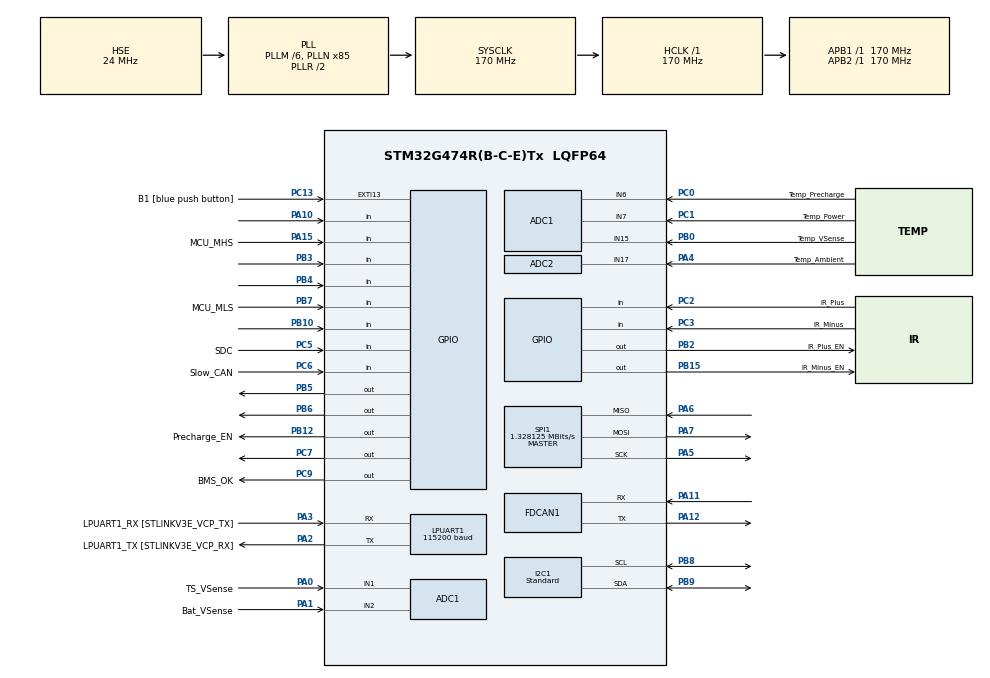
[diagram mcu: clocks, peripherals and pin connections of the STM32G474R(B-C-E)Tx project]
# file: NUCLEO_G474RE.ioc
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ADC1.Channel-2\#ChannelRegularConversion=ADC_CHANNEL_1
ADC1.Channel-4\#ChannelRegularConversion=ADC_CHANNEL_2
ADC1.Channel-5\#ChannelRegularConversion=ADC_CHANNEL_6
ADC1.Channel-6\#ChannelRegularConversion=ADC_CHANNEL_7
ADC1.Channel-7\#ChannelRegularConversion=ADC_CHANNEL_15
ADC1.ClockPrescaler=ADC_CLOCK_ASYNC_DIV256
ADC1.ContinuousConvMode=ENABLE
ADC1.DMAContinuousRequests=ENABLE
ADC1.NbrOfConversion=5
ADC1.NbrOfConversionFlag=1
ADC1.OffsetNumber-2\#ChannelRegularConversion=ADC_OFFSET_NONE
ADC1.OffsetNumber-4\#ChannelRegularConversion=ADC_OFFSET_NONE
ADC1.OffsetNumber-5\#ChannelRegularConversion=ADC_OFFSET_NONE
ADC1.OffsetNumber-6\#ChannelRegularConversion=ADC_OFFSET_NONE
ADC1.OffsetNumber-7\#ChannelRegularConversion=ADC_OFFSET_NONE
ADC1.Rank-2\#ChannelRegularConversion=1
ADC1.Rank-4\#ChannelRegularConversion=2
ADC1.Rank-5\#ChannelRegularConversion=3
ADC1.Rank-6\#ChannelRegularConversion=4
ADC1.Rank-7\#ChannelRegularConversion=5
ADC1.SamplingTime-2\#ChannelRegularConversion=ADC_SAMPLETIME_47CYCLES_5
ADC1.SamplingTime-4\#ChannelRegularConversion=ADC_SAMPLETIME_47CYCLES_5
ADC1.SamplingTime-5\#ChannelRegularConversion=ADC_SAMPLETIME_47CYCLES_5
ADC1.SamplingTime-6\#ChannelRegularConversion=ADC_SAMPLETIME_47CYCLES_5
ADC1.SamplingTime-7\#ChannelRegularConversion=ADC_SAMPLETIME_47CYCLES_5
ADC1.master=1
ADC2.Channel-0\#ChannelRegularConversion=ADC_CHANNEL_17
ADC2.ClockPrescaler=ADC_CLOCK_ASYNC_DIV256
ADC2.ContinuousConvMode=ENABLE
ADC2.DMAContinuousRequests=ENABLE
ADC2.NbrOfConversionFlag=1
ADC2.OffsetNumber-0\#ChannelRegularConversion=ADC_OFFSET_NONE
ADC2.Rank-0\#ChannelRegularConversion=1
ADC2.SamplingTime-0\#ChannelRegularConversion=ADC_SAMPLETIME_47CYCLES_5
Dma.ADC1.0.Direction=DMA_PERIPH_TO_MEMORY
Dma.ADC1.0.EventEnable=DISABLE
Dma.ADC1.0.Instance=DMA1_Channel1
Dma.ADC1.0.MemDataAlignment=DMA_MDATAALIGN_HALFWORD
Dma.ADC1.0.MemInc=DMA_MINC_ENABLE
Dma.ADC1.0.Mode=DMA_CIRCULAR
Dma.ADC1.0.PeriphDataAlignment=DMA_PDATAALIGN_HALFWORD
Dma.ADC1.0.PeriphInc=DMA_PINC_DISABLE
Dma.ADC1.0.Polarity=HAL_DMAMUX_REQ_GEN_RISING
Dma.ADC1.0.Priority=DMA_PRIORITY_LOW
Dma.ADC1.0.RequestNumber=1
Dma.ADC1.0.SignalID=NONE
Dma.ADC1.0.SyncEnable=DISABLE
Dma.ADC1.0.SyncPolarity=HAL_DMAMUX_SYNC_NO_EVENT
Dma.ADC1.0.SyncRequestNumber=1
Dma.ADC1.0.SyncSignalID=NONE
Dma.ADC2.1.Direction=DMA_PERIPH_TO_MEMORY
Dma.ADC2.1.EventEnable=DISABLE
Dma.ADC2.1.Instance=DMA1_Channel2
Dma.ADC2.1.MemDataAlignment=DMA_MDATAALIGN_HALFWORD
Dma.ADC2.1.MemInc=DMA_MINC_ENABLE
Dma.ADC2.1.Mode=DMA_CIRCULAR
Dma.ADC2.1.PeriphDataAlignment=DMA_PDATAALIGN_HALFWORD
Dma.ADC2.1.PeriphInc=DMA_PINC_DISABLE
Dma.ADC2.1.Polarity=HAL_DMAMUX_REQ_GEN_RISING
Dma.ADC2.1.Priority=DMA_PRIORITY_LOW
Dma.ADC2.1.RequestNumber=1
Dma.ADC2.1.SignalID=NONE
Dma.ADC2.1.SyncEnable=DISABLE
Dma.ADC2.1.SyncPolarity=HAL_DMAMUX_SYNC_NO_EVENT
Dma.ADC2.1.SyncRequestNumber=1
Dma.ADC2.1.SyncSignalID=NONE
Dma.Request0=ADC1
Dma.Request1=ADC2
FDCAN1.AutoRetransmission=ENABLE
FDCAN1.CalculateBaudRateNominal=999999
FDCAN1.CalculateTimeBitNominal=1000
FDCAN1.CalculateTimeQuantumNominal=5.882352941176471
FDCAN1.DataPrescaler=17
FDCAN1.DataSyncJumpWidth=3
FDCAN1.DataTimeSeg1=6
FDCAN1.DataTimeSeg2=3
FDCAN1.FrameFormat=FDCAN_FRAME_CLASSIC
FDCAN1.NominalPrescaler=1
FDCAN1.NominalSyncJumpWidth=33
FDCAN1.NominalTimeSeg1=136
FDCAN1.NominalTimeSeg2=33
FDCAN1.StdFiltersNbr=1
FREERTOS.Mutexes01=bsm_key,Dynamic,NULL,Available;gpio_data_key,Dynamic,NULL,Available;adc_data_key,Dynamic,NULL,Available;g_soc_estimate_key,Dynamic,NULL,Available;PackSegments_key,Dynamic,NULL,Available;TotalPack_key,Dynamic,NULL,Available;error_info_key,Dynamic,NULL,Available
FREERTOS.Queues01=Queue_CAN_Tx,16,can_msg,0,Dynamic,NULL,NULL
FREERTOS.Tasks01=GPIO_Read,9,256,Start_GPIO_Read,Default,NULL,Dynamic,NULL,NULL;BMS_Read,24,512,Start_BMS_Read,Default,NULL,Dynamic,NULL,NULL;BSM_Run,41,256,Start_BSM_Run,Default,NULL,Dynamic,NULL,NULL;Error_CAN,24,256,Start_Error_CAN,Default,NULL,Dynamic,NULL,NULL;ADC_Read,25,256,Start_ADC_Read,Default,NULL,Dynamic,NULL,NULL;BSM_CAN,17,256,Start_BSM_CAN,Default,NULL,Dynamic,NULL,NULL;BMS_CAN_Stats,24,384,Start_BMS_CAN_Stats,Default,NULL,Dynamic,NULL,NULL;BMS_CAN_Faults,33,384,Start_BMS_CAN_Faults,Default,NULL,Dynamic,NULL,NULL;SOC_CAN_Stats,18,256,Start_SOC_CAN_Stats,Default,NULL,Dynamic,NULL,NULL;BMS_CAN_IDS,8,384,Start_BMS_CAN_IDS,Default,NULL,Dynamic,NULL,NULL;BMS_CAN_Data,32,384,Start_BMS_CAN_Data,Default,NULL,Dynamic,NULL,NULL;SOC_CAN_Data,19,384,Start_SOC_CAN_Data,Default,NULL,Dynamic,NULL,NULL;GPIO_Write,8,256,Start_GPIO_Write,Default,NULL,Dynamic,NULL,NULL;Track_Usage,8,256,Start_Track_Usage,Default,NULL,Dynamic,NULL,NULL;CAN_Send,40,256,Start_CAN_Send,Default,NULL,Dynamic,NULL,NULL
FREERTOS.configCHECK_FOR_STACK_OVERFLOW=2
FREERTOS.configTOTAL_HEAP_SIZE=26000
FREERTOS.configUSE_NEWLIB_REENTRANT=1
I2C1.CustomTiming=Disabled
I2C1.DualAddressMode=I2C_DUALADDRESS_DISABLE
I2C1.I2C_Speed_Mode=I2C_Standard
I2C1.Timing=0x40B285C2
LPUART1.BaudRate=115200
Mcu.Family=STM32G4
Mcu.Name=STM32G474R(B-C-E)Tx
Mcu.Package=LQFP64
NVIC.ADC1_2_IRQn=true\:5\:0\:true\:false\:true\:true\:true\:true\:true
NVIC.DMA1_Channel1_IRQn=true\:6\:0\:true\:false\:true\:true\:false\:true\:true
NVIC.DMA1_Channel2_IRQn=true\:6\:0\:true\:false\:true\:true\:false\:true\:true
NVIC.EXTI15_10_IRQn=true\:5\:0\:false\:false\:true\:true\:true\:true\:true
NVIC.FDCAN1_IT0_IRQn=true\:8\:0\:true\:false\:true\:true\:true\:true\:true
NVIC.PriorityGroup=NVIC_PRIORITYGROUP_4
NVIC.TIM6_DAC_IRQn=true\:15\:0\:false\:false\:true\:false\:false\:true\:true
NVIC.TimeBase=TIM6_DAC_IRQn
NVIC.TimeBaseIP=TIM6
PA0.GPIO_Label=TS_VSense
PA0.Mode=IN1-Single-Ended
PA0.Signal=ADC1_IN1
PA1.GPIO_Label=Bat_VSense
PA1.Mode=IN2-Single-Ended
PA1.Signal=ADC1_IN2
PA10.Signal=GPIO_Input
PA11.Mode=FDCAN_Activate
PA11.Signal=FDCAN1_RX
PA12.Mode=FDCAN_Activate
PA12.Signal=FDCAN1_TX
PA13.GPIO_Label=T_SWDIO
PA13.Mode=Serial_Wire
PA13.Signal=SYS_JTMS-SWDIO
PA14.GPIO_Label=T_SWCLK
PA14.Mode=Serial_Wire
PA14.Signal=SYS_JTCK-SWCLK
PA15.GPIO_Label=MCU_MHS
PA15.Signal=GPIO_Input
PA2.GPIO_Label=LPUART1_TX [STLINKV3E_VCP_RX]
PA2.Mode=Asynchronous
PA2.Signal=LPUART1_TX
PA3.GPIO_Label=LPUART1_RX [STLINKV3E_VCP_TX]
PA3.Mode=Asynchronous
PA3.Signal=LPUART1_RX
PA4.GPIO_Label=Temp_Ambient
PA4.Mode=IN17-Single-Ended
PA4.Signal=ADC2_IN17
PA5.Mode=Full_Duplex_Master
PA5.Signal=SPI1_SCK
PA6.Mode=Full_Duplex_Master
PA6.Signal=SPI1_MISO
PA7.Mode=Full_Duplex_Master
PA7.Signal=SPI1_MOSI
PB0.GPIO_Label=Temp_VSense
PB0.Mode=IN15-Single-Ended
PB0.Signal=ADC1_IN15
PB10.Signal=GPIO_Input
PB12.GPIO_Label=Precharge_EN
PB12.Signal=GPIO_Output
PB15.GPIO_Label=IR_Minus_EN
PB15.Signal=GPIO_Output
PB2.GPIO_Label=IR_Plus_EN
PB2.Signal=GPIO_Output
PB3.Signal=GPIO_Input
PB4.Signal=GPIO_Input
PB5.PinState=GPIO_PIN_SET
PB5.Signal=GPIO_Output
PB6.Signal=GPIO_Output
PB7.GPIO_Label=MCU_MLS
PB7.Signal=GPIO_Input
PB8-BOOT0.Mode=I2C
PB8-BOOT0.Signal=I2C1_SCL
PB9.Mode=I2C
PB9.Signal=I2C1_SDA
PC0.GPIO_Label=Temp_Precharge
PC0.Mode=IN6-Single-Ended
PC0.Signal=ADC1_IN6
PC1.GPIO_Label=Temp_Power
PC1.Mode=IN7-Single-Ended
PC1.Signal=ADC1_IN7
PC13.GPIO_Label=B1 [blue push button]
PC13.Signal=GPXTI13
PC14-OSC32_IN.GPIO_Label=RCC_OSC32_IN
PC14-OSC32_IN.Mode=LSE-External-Oscillator
PC14-OSC32_IN.Signal=RCC_OSC32_IN
PC15-OSC32_OUT.GPIO_Label=RCC_OSC32_OUT
PC15-OSC32_OUT.Mode=LSE-External-Oscillator
PC15-OSC32_OUT.Signal=RCC_OSC32_OUT
PC2.GPIO_Label=IR_Plus
PC2.Signal=GPIO_Input
PC3.GPIO_Label=IR_Minus
PC3.Signal=GPIO_Input
PC5.GPIO_Label=SDC
PC5.Signal=GPIO_Input
PC6.GPIO_Label=Slow_CAN
PC6.Signal=GPIO_Input
PC7.GPIO_Speed=GPIO_SPEED_FREQ_LOW
PC7.PinState=GPIO_PIN_SET
PC7.Signal=GPIO_Output
PC9.GPIO_Label=BMS_OK
PC9.PinState=GPIO_PIN_SET
PC9.Signal=GPIO_Output
PF0-OSC_IN.GPIO_Label=RCC_OSC_IN
PF0-OSC_IN.Mode=HSE-External-Oscillator
PF0-OSC_IN.Signal=RCC_OSC_IN
PF1-OSC_OUT.GPIO_Label=RCC_OSC_OUT
PF1-OSC_OUT.Mode=HSE-External-Oscillator
PF1-OSC_OUT.Signal=RCC_OSC_OUT
ProjectManager.HeapSize=0x200
ProjectManager.StackSize=0x400
ProjectManager.TargetToolchain=CMake
RCC.ADC12Freq_Value=170000000
RCC.ADC345Freq_Value=170000000
RCC.AHBFreq_Value=170000000
RCC.APB1Freq_Value=170000000
RCC.APB1TimFreq_Value=170000000
RCC.APB2Freq_Value=170000000
RCC.APB2TimFreq_Value=170000000
RCC.CortexFreq_Value=170000000
RCC.EXTERNAL_CLOCK_VALUE=12288000
RCC.HCLKFreq_Value=170000000
RCC.HSE_VALUE=24000000
RCC.HSI48_VALUE=48000000
RCC.HSI_VALUE=16000000
RCC.PLLM=RCC_PLLM_DIV6
RCC.PLLN=85
RCC.PLLSourceVirtual=RCC_PLLSOURCE_HSE
RCC.RTCClockSelection=RCC_RTCCLKSOURCE_LSE
RCC.SYSCLKFreq_VALUE=170000000
RCC.SYSCLKSource=RCC_SYSCLKSOURCE_PLLCLK
RCC.USBFreq_Value=170000000
RCC.VCOOutputFreq_Value=340000000
SPI1.BaudRatePrescaler=SPI_BAUDRATEPRESCALER_128
SPI1.CalculateBaudRate=1.328125 MBits/s
SPI1.DataSize=SPI_DATASIZE_8BIT
SPI1.Direction=SPI_DIRECTION_2LINES
SPI1.Mode=SPI_MODE_MASTER
SPI1.NSSPMode=SPI_NSS_PULSE_ENABLE
SPI1.VirtualType=VM_MASTER
VP_FREERTOS_VS_CMSIS_V2.Mode=CMSIS_V2
VP_SYS_VS_DBSignals.Mode=DisableDeadBatterySignals
VP_SYS_VS_tim6.Mode=TIM6
board=NUCLEO-G474RE

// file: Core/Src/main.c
/* USER CODE BEGIN Header */
/**
 ******************************************************************************
 * @file           : main.c
 * @brief          : Main program body
 ******************************************************************************
 * @attention
 *
 * Copyright (c) 2025 STMicroelectronics.
 * All rights reserved.
 *
 * This software is licensed under terms that can be found in the LICENSE file
 * in the root directory of this software component.
 * If no LICENSE file comes with this software, it is provided AS-IS.
 *
 ******************************************************************************
 */
/* USER CODE END Header */
#include "main.h"

#include "cmsis_os.h"

/* USER CODE BEGIN Includes */
#include <stdint.h>
#include <stdio.h>
#include <string.h>

#include "adBms_Application.h"
#include "adc_management.h"
#include "bsm.h"
#include "can_management.h"
#include "cmsis_os2.h"
#include "common.h"
#include "common_types.h"
#include "gpio_management.h"
/* USER CODE END Includes */

/* USER CODE BEGIN PD */
// Reset Counters to rest the microcontroller in case of critical faults, will get stuck after a set
// number of resets
__attribute__((section(".noinit"))) uint32_t reset_counter;
__attribute__((section(".noinit"))) uint32_t reset_counter_magic;
/* USER CODE END PD */

ADC_HandleTypeDef hadc1;
ADC_HandleTypeDef hadc2;
DMA_HandleTypeDef hdma_adc1;
DMA_HandleTypeDef hdma_adc2;

FDCAN_HandleTypeDef hfdcan1;

I2C_HandleTypeDef hi2c1;

UART_HandleTypeDef hlpuart1;

SPI_HandleTypeDef hspi1;

/* Definitions for GPIO_Read */
osThreadId_t GPIO_ReadHandle;
const osThreadAttr_t GPIO_Read_attributes = {
    .name = "GPIO_Read", .priority = (osPriority_t)osPriorityLow1, .stack_size = 256 * 4};
/* Definitions for BMS_Read */
osThreadId_t BMS_ReadHandle;
const osThreadAttr_t BMS_Read_attributes = {
    .name = "BMS_Read", .priority = (osPriority_t)osPriorityNormal, .stack_size = 512 * 4};
/* Definitions for BSM_Run */
osThreadId_t BSM_RunHandle;
const osThreadAttr_t BSM_Run_attributes = {
    .name = "BSM_Run", .priority = (osPriority_t)osPriorityHigh1, .stack_size = 256 * 4};
/* Definitions for Error_CAN */
osThreadId_t Error_CANHandle;
const osThreadAttr_t Error_CAN_attributes = {
    .name = "Error_CAN", .priority = (osPriority_t)osPriorityNormal, .stack_size = 256 * 4};
/* Definitions for ADC_Read */
osThreadId_t ADC_ReadHandle;
const osThreadAttr_t ADC_Read_attributes = {
    .name = "ADC_Read", .priority = (osPriority_t)osPriorityNormal1, .stack_size = 256 * 4};
/* Definitions for BSM_CAN */
osThreadId_t BSM_CANHandle;
const osThreadAttr_t BSM_CAN_attributes = {
    .name = "BSM_CAN", .priority = (osPriority_t)osPriorityBelowNormal1, .stack_size = 256 * 4};
/* Definitions for BMS_CAN_Stats */
osThreadId_t BMS_CAN_StatsHandle;
const osThreadAttr_t BMS_CAN_Stats_attributes = {
    .name = "BMS_CAN_Stats", .priority = (osPriority_t)osPriorityNormal, .stack_size = 384 * 4};
/* Definitions for BMS_CAN_Faults */
osThreadId_t BMS_CAN_FaultsHandle;
const osThreadAttr_t BMS_CAN_Faults_attributes = {.name = "BMS_CAN_Faults",
                                                  .priority = (osPriority_t)osPriorityAboveNormal1,
                                                  .stack_size = 384 * 4};
/* Definitions for SOC_CAN_Stats */
osThreadId_t SOC_CAN_StatsHandle;
const osThreadAttr_t SOC_CAN_Stats_attributes = {.name = "SOC_CAN_Stats",
                                                 .priority = (osPriority_t)osPriorityBelowNormal2,
                                                 .stack_size = 256 * 4};
/* Definitions for BMS_CAN_IDS */
osThreadId_t BMS_CAN_IDSHandle;
const osThreadAttr_t BMS_CAN_IDS_attributes = {
    .name = "BMS_CAN_IDS", .priority = (osPriority_t)osPriorityLow, .stack_size = 384 * 4};
/* Definitions for BMS_CAN_Data */
osThreadId_t BMS_CAN_DataHandle;
const osThreadAttr_t BMS_CAN_Data_attributes = {
    .name = "BMS_CAN_Data", .priority = (osPriority_t)osPriorityAboveNormal, .stack_size = 384 * 4};
/* Definitions for SOC_CAN_Data */
osThreadId_t SOC_CAN_DataHandle;
const osThreadAttr_t SOC_CAN_Data_attributes = {.name = "SOC_CAN_Data",
                                                .priority = (osPriority_t)osPriorityBelowNormal3,
                                                .stack_size = 384 * 4};
/* Definitions for GPIO_Write */
osThreadId_t GPIO_WriteHandle;
const osThreadAttr_t GPIO_Write_attributes = {
    .name = "GPIO_Write", .priority = (osPriority_t)osPriorityLow, .stack_size = 256 * 4};
/* Definitions for Track_Usage */
osThreadId_t Track_UsageHandle;
const osThreadAttr_t Track_Usage_attributes = {
    .name = "Track_Usage", .priority = (osPriority_t)osPriorityLow, .stack_size = 256 * 4};
/* Definitions for CAN_Send */
osThreadId_t CAN_SendHandle;
const osThreadAttr_t CAN_Send_attributes = {
    .name = "CAN_Send", .priority = (osPriority_t)osPriorityHigh, .stack_size = 256 * 4};
/* Definitions for Queue_CAN_Tx */
osMessageQueueId_t Queue_CAN_TxHandle;
const osMessageQueueAttr_t Queue_CAN_Tx_attributes = {.name = "Queue_CAN_Tx"};
/* Definitions for bsm_key */
osMutexId_t bsm_keyHandle;
const osMutexAttr_t bsm_key_attributes = {.name = "bsm_key"};
/* Definitions for gpio_data_key */
osMutexId_t gpio_data_keyHandle;
const osMutexAttr_t gpio_data_key_attributes = {.name = "gpio_data_key"};
/* Definitions for adc_data_key */
osMutexId_t adc_data_keyHandle;
const osMutexAttr_t adc_data_key_attributes = {.name = "adc_data_key"};
/* Definitions for g_soc_estimate_key */
osMutexId_t g_soc_estimate_keyHandle;
const osMutexAttr_t g_soc_estimate_key_attributes = {.name = "g_soc_estimate_key"};
/* Definitions for PackSegments_key */
osMutexId_t PackSegments_keyHandle;
const osMutexAttr_t PackSegments_key_attributes = {.name = "PackSegments_key"};
/* Definitions for TotalPack_key */
osMutexId_t TotalPack_keyHandle;
const osMutexAttr_t TotalPack_key_attributes = {.name = "TotalPack_key"};
/* Definitions for error_info_key */
osMutexId_t error_info_keyHandle;
const osMutexAttr_t error_info_key_attributes = {.name = "error_info_key"};
/* USER CODE BEGIN PV */
uint8_t HeaderTxBuffer[] =
    "****SPI - Two Boards communication based on Polling **** SPI Message ******** SPI Message "
    "******** SPI Message ****";

/* USER CODE END PV */

void SystemClock_Config(void);
static void MX_GPIO_Init(void);
static void MX_DMA_Init(void);
static void MX_ADC1_Init(void);
static void MX_I2C1_Init(void);
static void MX_LPUART1_UART_Init(void);
static void MX_SPI1_Init(void);
static void MX_FDCAN1_Init(void);
static void MX_ADC2_Init(void);
void Start_GPIO_Read(void* argument);
void Start_BMS_Read(void* argument);
void Start_BSM_Run(void* argument);
void Start_Error_CAN(void* argument);
void Start_ADC_Read(void* argument);
void Start_BSM_CAN(void* argument);
void Start_BMS_CAN_Stats(void* argument);
void Start_BMS_CAN_Faults(void* argument);
void Start_SOC_CAN_Stats(void* argument);
void Start_BMS_CAN_IDS(void* argument);
void Start_BMS_CAN_Data(void* argument);
void Start_SOC_CAN_Data(void* argument);
void Start_GPIO_Write(void* argument);
void Start_Track_Usage(void* argument);
void Start_CAN_Send(void* argument);

/* USER CODE BEGIN PFP */

#if defined(__ICCARM__)
/* New definition from EWARM V9, compatible with EWARM8 */
int iar_fputc(int ch);
#define PUTCHAR_PROTOTYPE int iar_fputc(int ch)
#elif defined(__CC_ARM) || defined(__ARMCC_VERSION)
/* ARM Compiler 5/6*/
#define PUTCHAR_PROTOTYPE int fputc(int ch, FILE* f)
#define GETCHAR_PROTOTYPE int fgetc(FILE* f)
#elif defined(__GNUC__)
#define PUTCHAR_PROTOTYPE int __io_putchar(int ch)
#define GETCHAR_PROTOTYPE int __io_getchar(void)
#endif /* __ICCARM__ */
/* USER CODE END PFP */

/* USER CODE BEGIN 0 */
// Extra State Machine object pointer for extreme error handling FAULT state check
Mutex_Struct_t mutex_struct;
bsm_obj bsm;
GPIO_Info_t gpio_data = {0};
static bsm_obj* g_bsm_ptr = &bsm;  // BMS and SOC CAN Send Counters
uint8_t bms_mod_counter = 0;
uint8_t bms_segment_counter = 0;
uint8_t soc_mod_counter = 0;
uint8_t soc_segment_counter = 0;

/* USER CODE END 0 */

int main(void) {
    /* USER CODE BEGIN 1 */
    // Battery State Machine Structure
    /*Attributes:
     * State
     * Timer
     * Outputs: Precharge Enable, IR+ enable, IR- enable
     */

    /* USER CODE END 1 */

    /* MCU Configuration--------------------------------------------------------*/

    /* Reset of all peripherals, Initializes the Flash interface and the Systick. */
    HAL_Init();

    /* USER CODE BEGIN Init */
    reset_counter_init();
    /* USER CODE END Init */

    /* Configure the system clock */
    SystemClock_Config();

    /* Initialize all configured peripherals */
    /*
    MX_GPIO_Init();
    MX_DMA_Init();
    MX_ADC1_Init();
    MX_I2C1_Init();
    MX_LPUART1_UART_Init();
    MX_SPI1_Init();
    MX_FDCAN1_Init();
    MX_ADC2_Init();
    */
    /* USER CODE BEGIN 2 */
    // TODO: COMMENT OUT STATEMENTS BEFORE IF NEW CODE FROM MX
    MX_GPIO_Init();
    MX_LPUART1_UART_Init();
    MX_FDCAN1_Init();
    GPIO_Init(&gpio_data);
    can_init(&hfdcan1, &gpio_data);
    MX_DMA_Init();
    MX_ADC1_Init();
    MX_ADC2_Init();
    MX_SPI1_Init();
    MX_I2C1_Init();

    // printf("MAIN START\r\n");

    // Start ADC
    adc_init(&hadc1, &hadc2);

    // Start BSM
    bsm_init(&bsm);

    adbms_main_init(&can_data);

    /* USER CODE END 2 */

    /* Init scheduler */
    osKernelInitialize();
    /* Create the mutex(es) */
    /* creation of bsm_key */
    bsm_keyHandle = osMutexNew(&bsm_key_attributes);

    /* creation of gpio_data_key */
    gpio_data_keyHandle = osMutexNew(&gpio_data_key_attributes);

    /* creation of adc_data_key */
    adc_data_keyHandle = osMutexNew(&adc_data_key_attributes);

    /* creation of g_soc_estimate_key */
    g_soc_estimate_keyHandle = osMutexNew(&g_soc_estimate_key_attributes);

    /* creation of PackSegments_key */
    PackSegments_keyHandle = osMutexNew(&PackSegments_key_attributes);

    /* creation of TotalPack_key */
    TotalPack_keyHandle = osMutexNew(&TotalPack_key_attributes);

    /* creation of error_info_key */
    error_info_keyHandle = osMutexNew(&error_info_key_attributes);

    /* USER CODE BEGIN RTOS_MUTEX */
    /* add mutexes, ... */
    mutex_struct.bsm_key = bsm_keyHandle;
    mutex_struct.gpio_data_key = gpio_data_keyHandle;
    mutex_struct.adc_data_key = adc_data_keyHandle;
    mutex_struct.soc_estimate_key = g_soc_estimate_keyHandle;
    mutex_struct.pack_segments_key = PackSegments_keyHandle;
    mutex_struct.total_pack_key = TotalPack_keyHandle;
    mutex_struct.error_info_key = error_info_keyHandle;

    /* USER CODE END RTOS_MUTEX */

    /* Create the queue(s) */
    /* creation of Queue_CAN_Tx */
    Queue_CAN_TxHandle = osMessageQueueNew(16, sizeof(can_msg), &Queue_CAN_Tx_attributes);

    /* Create the thread(s) */
    /* creation of GPIO_Read */
    GPIO_ReadHandle = osThreadNew(Start_GPIO_Read, NULL, &GPIO_Read_attributes);

    /* creation of BMS_Read */
    BMS_ReadHandle = osThreadNew(Start_BMS_Read, NULL, &BMS_Read_attributes);

    /* creation of BSM_Run */
    BSM_RunHandle = osThreadNew(Start_BSM_Run, NULL, &BSM_Run_attributes);

    /* creation of Error_CAN */
    Error_CANHandle = osThreadNew(Start_Error_CAN, NULL, &Error_CAN_attributes);

    /* creation of ADC_Read */
    ADC_ReadHandle = osThreadNew(Start_ADC_Read, NULL, &ADC_Read_attributes);

    /* creation of BSM_CAN */
    BSM_CANHandle = osThreadNew(Start_BSM_CAN, NULL, &BSM_CAN_attributes);

    /* creation of BMS_CAN_Stats */
    BMS_CAN_StatsHandle = osThreadNew(Start_BMS_CAN_Stats, NULL, &BMS_CAN_Stats_attributes);

    /* creation of BMS_CAN_Faults */
    BMS_CAN_FaultsHandle = osThreadNew(Start_BMS_CAN_Faults, NULL, &BMS_CAN_Faults_attributes);

    /* creation of SOC_CAN_Stats */
    SOC_CAN_StatsHandle = osThreadNew(Start_SOC_CAN_Stats, NULL, &SOC_CAN_Stats_attributes);

    /* creation of BMS_CAN_IDS */
    BMS_CAN_IDSHandle = osThreadNew(Start_BMS_CAN_IDS, NULL, &BMS_CAN_IDS_attributes);

    /* creation of BMS_CAN_Data */
    BMS_CAN_DataHandle = osThreadNew(Start_BMS_CAN_Data, NULL, &BMS_CAN_Data_attributes);

    /* creation of SOC_CAN_Data */
    SOC_CAN_DataHandle = osThreadNew(Start_SOC_CAN_Data, NULL, &SOC_CAN_Data_attributes);

    /* creation of GPIO_Write */
    GPIO_WriteHandle = osThreadNew(Start_GPIO_Write, NULL, &GPIO_Write_attributes);

    /* creation of Track_Usage */
    Track_UsageHandle = osThreadNew(Start_Track_Usage, NULL, &Track_Usage_attributes);

    /* creation of CAN_Send */
    CAN_SendHandle = osThreadNew(Start_CAN_Send, NULL, &CAN_Send_attributes);

    /* Start scheduler */
    osKernelStart();

    /* We should never get here as control is now taken by the scheduler */

    /* Infinite loop */
    while (1) {

    }
}

void SystemClock_Config(void) {
    RCC_OscInitTypeDef RCC_OscInitStruct = {0};
    RCC_ClkInitTypeDef RCC_ClkInitStruct = {0};

    /** Configure the main internal regulator output voltage
     */
    HAL_PWREx_ControlVoltageScaling(PWR_REGULATOR_VOLTAGE_SCALE1_BOOST);

    /** Initializes the RCC Oscillators according to the specified parameters
     * in the RCC_OscInitTypeDef structure.
     */
    RCC_OscInitStruct.OscillatorType = RCC_OSCILLATORTYPE_HSE;
    RCC_OscInitStruct.HSEState = RCC_HSE_ON;
    RCC_OscInitStruct.PLL.PLLState = RCC_PLL_ON;
    RCC_OscInitStruct.PLL.PLLSource = RCC_PLLSOURCE_HSE;
    RCC_OscInitStruct.PLL.PLLM = RCC_PLLM_DIV6;
    RCC_OscInitStruct.PLL.PLLN = 85;
    RCC_OscInitStruct.PLL.PLLP = RCC_PLLP_DIV2;
    RCC_OscInitStruct.PLL.PLLQ = RCC_PLLQ_DIV2;
    RCC_OscInitStruct.PLL.PLLR = RCC_PLLR_DIV2;
    if (HAL_RCC_OscConfig(&RCC_OscInitStruct) != HAL_OK) {
        Error_Handler();
    }

    /** Initializes the CPU, AHB and APB buses clocks
     */
    RCC_ClkInitStruct.ClockType =
        RCC_CLOCKTYPE_HCLK | RCC_CLOCKTYPE_SYSCLK | RCC_CLOCKTYPE_PCLK1 | RCC_CLOCKTYPE_PCLK2;
    RCC_ClkInitStruct.SYSCLKSource = RCC_SYSCLKSOURCE_PLLCLK;
    RCC_ClkInitStruct.AHBCLKDivider = RCC_SYSCLK_DIV1;
    RCC_ClkInitStruct.APB1CLKDivider = RCC_HCLK_DIV1;
    RCC_ClkInitStruct.APB2CLKDivider = RCC_HCLK_DIV1;

    if (HAL_RCC_ClockConfig(&RCC_ClkInitStruct, FLASH_LATENCY_4) != HAL_OK) {
        Error_Handler();
    }
}

static void MX_ADC1_Init(void) {

    ADC_MultiModeTypeDef multimode = {0};
    ADC_ChannelConfTypeDef sConfig = {0};

    /** Common config
     */
    hadc1.Instance = ADC1;
    hadc1.Init.ClockPrescaler = ADC_CLOCK_ASYNC_DIV256;
    hadc1.Init.Resolution = ADC_RESOLUTION_12B;
    hadc1.Init.DataAlign = ADC_DATAALIGN_RIGHT;
    hadc1.Init.GainCompensation = 0;
    hadc1.Init.ScanConvMode = ADC_SCAN_ENABLE;
    hadc1.Init.EOCSelection = ADC_EOC_SINGLE_CONV;
    hadc1.Init.LowPowerAutoWait = DISABLE;
    hadc1.Init.ContinuousConvMode = ENABLE;
    hadc1.Init.NbrOfConversion = 5;
    hadc1.Init.DiscontinuousConvMode = DISABLE;
    hadc1.Init.ExternalTrigConv = ADC_SOFTWARE_START;
    hadc1.Init.ExternalTrigConvEdge = ADC_EXTERNALTRIGCONVEDGE_NONE;
    hadc1.Init.DMAContinuousRequests = ENABLE;
    hadc1.Init.Overrun = ADC_OVR_DATA_PRESERVED;
    hadc1.Init.OversamplingMode = DISABLE;
    if (HAL_ADC_Init(&hadc1) != HAL_OK) {
        Error_Handler();
    }

    /** Configure the ADC multi-mode
     */
    multimode.Mode = ADC_MODE_INDEPENDENT;
    if (HAL_ADCEx_MultiModeConfigChannel(&hadc1, &multimode) != HAL_OK) {
        Error_Handler();
    }

    /** Configure Regular Channel
     */
    sConfig.Channel = ADC_CHANNEL_1;
    sConfig.Rank = ADC_REGULAR_RANK_1;
    sConfig.SamplingTime = ADC_SAMPLETIME_47CYCLES_5;
    sConfig.SingleDiff = ADC_SINGLE_ENDED;
    sConfig.OffsetNumber = ADC_OFFSET_NONE;
    sConfig.Offset = 0;
    if (HAL_ADC_ConfigChannel(&hadc1, &sConfig) != HAL_OK) {
        Error_Handler();
    }

    /** Configure Regular Channel
     */
    sConfig.Channel = ADC_CHANNEL_2;
    sConfig.Rank = ADC_REGULAR_RANK_2;
    if (HAL_ADC_ConfigChannel(&hadc1, &sConfig) != HAL_OK) {
        Error_Handler();
    }

    /** Configure Regular Channel
     */
    sConfig.Channel = ADC_CHANNEL_6;
    sConfig.Rank = ADC_REGULAR_RANK_3;
    if (HAL_ADC_ConfigChannel(&hadc1, &sConfig) != HAL_OK) {
        Error_Handler();
    }

    /** Configure Regular Channel
     */
    sConfig.Channel = ADC_CHANNEL_7;
    sConfig.Rank = ADC_REGULAR_RANK_4;
    if (HAL_ADC_ConfigChannel(&hadc1, &sConfig) != HAL_OK) {
        Error_Handler();
    }

    /** Configure Regular Channel
     */
    sConfig.Channel = ADC_CHANNEL_15;
    sConfig.Rank = ADC_REGULAR_RANK_5;
    if (HAL_ADC_ConfigChannel(&hadc1, &sConfig) != HAL_OK) {
        Error_Handler();
    }
}

static void MX_ADC2_Init(void) {

    ADC_ChannelConfTypeDef sConfig = {0};

    /** Common config
     */
    hadc2.Instance = ADC2;
    hadc2.Init.ClockPrescaler = ADC_CLOCK_ASYNC_DIV256;
    hadc2.Init.Resolution = ADC_RESOLUTION_12B;
    hadc2.Init.DataAlign = ADC_DATAALIGN_RIGHT;
    hadc2.Init.GainCompensation = 0;
    hadc2.Init.ScanConvMode = ADC_SCAN_DISABLE;
    hadc2.Init.EOCSelection = ADC_EOC_SINGLE_CONV;
    hadc2.Init.LowPowerAutoWait = DISABLE;
    hadc2.Init.ContinuousConvMode = ENABLE;
    hadc2.Init.NbrOfConversion = 1;
    hadc2.Init.DiscontinuousConvMode = DISABLE;
    hadc2.Init.ExternalTrigConv = ADC_SOFTWARE_START;
    hadc2.Init.ExternalTrigConvEdge = ADC_EXTERNALTRIGCONVEDGE_NONE;
    hadc2.Init.DMAContinuousRequests = ENABLE;
    hadc2.Init.Overrun = ADC_OVR_DATA_PRESERVED;
    hadc2.Init.OversamplingMode = DISABLE;
    if (HAL_ADC_Init(&hadc2) != HAL_OK) {
        Error_Handler();
    }

    /** Configure Regular Channel
     */
    sConfig.Channel = ADC_CHANNEL_17;
    sConfig.Rank = ADC_REGULAR_RANK_1;
    sConfig.SamplingTime = ADC_SAMPLETIME_47CYCLES_5;
    sConfig.SingleDiff = ADC_SINGLE_ENDED;
    sConfig.OffsetNumber = ADC_OFFSET_NONE;
    sConfig.Offset = 0;
    if (HAL_ADC_ConfigChannel(&hadc2, &sConfig) != HAL_OK) {
        Error_Handler();
    }
}

static void MX_FDCAN1_Init(void) {

    hfdcan1.Instance = FDCAN1;
    hfdcan1.Init.ClockDivider = FDCAN_CLOCK_DIV1;
    hfdcan1.Init.FrameFormat = FDCAN_FRAME_CLASSIC;
    hfdcan1.Init.Mode = FDCAN_MODE_NORMAL;
    hfdcan1.Init.AutoRetransmission = ENABLE;
    hfdcan1.Init.TransmitPause = DISABLE;
    hfdcan1.Init.ProtocolException = DISABLE;
    hfdcan1.Init.NominalPrescaler = 1;
    hfdcan1.Init.NominalSyncJumpWidth = 33;
    hfdcan1.Init.NominalTimeSeg1 = 136;
    hfdcan1.Init.NominalTimeSeg2 = 33;
    hfdcan1.Init.DataPrescaler = 17;
    hfdcan1.Init.DataSyncJumpWidth = 3;
    hfdcan1.Init.DataTimeSeg1 = 6;
    hfdcan1.Init.DataTimeSeg2 = 3;
    hfdcan1.Init.StdFiltersNbr = 1;
    hfdcan1.Init.ExtFiltersNbr = 0;
    hfdcan1.Init.TxFifoQueueMode = FDCAN_TX_FIFO_OPERATION;
    if (HAL_FDCAN_Init(&hfdcan1) != HAL_OK) {
        Error_Handler();
    }
    /* USER CODE BEGIN FDCAN1_Init 2 */
    FDCAN_FilterTypeDef sFilterConfig;

    sFilterConfig.IdType = FDCAN_STANDARD_ID;  // 11 Bit Standard Length
    sFilterConfig.FilterIndex = 0;             // One filter so set to 0
    sFilterConfig.FilterType =
        FDCAN_FILTER_MASK;  // Standard Filter Type, FilterID1 = filter, FilterID2 = mask
    sFilterConfig.FilterID1 = 0x000;
    sFilterConfig.FilterID2 = 0x000;
    sFilterConfig.FilterConfig = FDCAN_FILTER_TO_RXFIFO0;

    if (HAL_FDCAN_ConfigFilter(&hfdcan1, &sFilterConfig) != HAL_OK) {
        /* Filter Configuration Error */
        Error_Handler();
    }

    /* USER CODE END FDCAN1_Init 2 */
}

static void MX_I2C1_Init(void) {

    hi2c1.Instance = I2C1;
    hi2c1.Init.Timing = 0x40B285C2;
    hi2c1.Init.OwnAddress1 = 0;
    hi2c1.Init.AddressingMode = I2C_ADDRESSINGMODE_7BIT;
    hi2c1.Init.DualAddressMode = I2C_DUALADDRESS_DISABLE;
    hi2c1.Init.OwnAddress2 = 0;
    hi2c1.Init.OwnAddress2Masks = I2C_OA2_NOMASK;
    hi2c1.Init.GeneralCallMode = I2C_GENERALCALL_DISABLE;
    hi2c1.Init.NoStretchMode = I2C_NOSTRETCH_DISABLE;
    if (HAL_I2C_Init(&hi2c1) != HAL_OK) {
        Error_Handler();
    }

    /** Configure Analogue filter
     */
    if (HAL_I2CEx_ConfigAnalogFilter(&hi2c1, I2C_ANALOGFILTER_ENABLE) != HAL_OK) {
        Error_Handler();
    }

    /** Configure Digital filter
     */
    if (HAL_I2CEx_ConfigDigitalFilter(&hi2c1, 0) != HAL_OK) {
        Error_Handler();
    }
}

static void MX_LPUART1_UART_Init(void) {

    hlpuart1.Instance = LPUART1;
    hlpuart1.Init.BaudRate = 115200;
    hlpuart1.Init.WordLength = UART_WORDLENGTH_8B;
    hlpuart1.Init.StopBits = UART_STOPBITS_1;
    hlpuart1.Init.Parity = UART_PARITY_NONE;
    hlpuart1.Init.Mode = UART_MODE_TX_RX;
    hlpuart1.Init.HwFlowCtl = UART_HWCONTROL_NONE;
    hlpuart1.Init.OneBitSampling = UART_ONE_BIT_SAMPLE_DISABLE;
    hlpuart1.Init.ClockPrescaler = UART_PRESCALER_DIV1;
    hlpuart1.AdvancedInit.AdvFeatureInit = UART_ADVFEATURE_NO_INIT;
    if (HAL_UART_Init(&hlpuart1) != HAL_OK) {
        Error_Handler();
    }
    if (HAL_UARTEx_SetTxFifoThreshold(&hlpuart1, UART_TXFIFO_THRESHOLD_1_8) != HAL_OK) {
        Error_Handler();
    }
    if (HAL_UARTEx_SetRxFifoThreshold(&hlpuart1, UART_RXFIFO_THRESHOLD_1_8) != HAL_OK) {
        Error_Handler();
    }
    if (HAL_UARTEx_DisableFifoMode(&hlpuart1) != HAL_OK) {
        Error_Handler();
    }
}

static void MX_SPI1_Init(void) {

    /* SPI1 parameter configuration*/
    hspi1.Instance = SPI1;
    hspi1.Init.Mode = SPI_MODE_MASTER;
    hspi1.Init.Direction = SPI_DIRECTION_2LINES;
    hspi1.Init.DataSize = SPI_DATASIZE_8BIT;
    hspi1.Init.CLKPolarity = SPI_POLARITY_LOW;
    hspi1.Init.CLKPhase = SPI_PHASE_1EDGE;
    hspi1.Init.NSS = SPI_NSS_SOFT;
    hspi1.Init.BaudRatePrescaler = SPI_BAUDRATEPRESCALER_128;
    hspi1.Init.FirstBit = SPI_FIRSTBIT_MSB;
    hspi1.Init.TIMode = SPI_TIMODE_DISABLE;
    hspi1.Init.CRCCalculation = SPI_CRCCALCULATION_DISABLE;
    hspi1.Init.CRCPolynomial = 7;
    hspi1.Init.CRCLength = SPI_CRC_LENGTH_DATASIZE;
    hspi1.Init.NSSPMode = SPI_NSS_PULSE_ENABLE;
    if (HAL_SPI_Init(&hspi1) != HAL_OK) {
        Error_Handler();
    }
}

static void MX_DMA_Init(void) {
    /* DMA controller clock enable */
    __HAL_RCC_DMAMUX1_CLK_ENABLE();
    __HAL_RCC_DMA1_CLK_ENABLE();

    /* DMA interrupt init */
    /* DMA1_Channel1_IRQn interrupt configuration */
    HAL_NVIC_SetPriority(DMA1_Channel1_IRQn, 6, 0);
    HAL_NVIC_EnableIRQ(DMA1_Channel1_IRQn);
    /* DMA1_Channel2_IRQn interrupt configuration */
    HAL_NVIC_SetPriority(DMA1_Channel2_IRQn, 6, 0);
    HAL_NVIC_EnableIRQ(DMA1_Channel2_IRQn);
}

static void MX_GPIO_Init(void) {
    GPIO_InitTypeDef GPIO_InitStruct = {0};

    /* GPIO Ports Clock Enable */
    __HAL_RCC_GPIOC_CLK_ENABLE();
    __HAL_RCC_GPIOF_CLK_ENABLE();
    __HAL_RCC_GPIOA_CLK_ENABLE();
    __HAL_RCC_GPIOB_CLK_ENABLE();

    /*Configure GPIO pin Output Level */
    HAL_GPIO_WritePin(GPIOB, IR_Plus_EN_Pin | Precharge_EN_Pin | IR_Minus_EN_Pin | GPIO_PIN_6,
                      GPIO_PIN_RESET);

    /*Configure GPIO pin Output Level */
    HAL_GPIO_WritePin(GPIOC, GPIO_PIN_7 | BMS_OK_Pin, GPIO_PIN_SET);

    /*Configure GPIO pin Output Level */
    HAL_GPIO_WritePin(GPIOB, GPIO_PIN_5, GPIO_PIN_SET);

    /*Configure GPIO pin : B1_Pin */
    GPIO_InitStruct.Pin = B1_Pin;
    GPIO_InitStruct.Mode = GPIO_MODE_IT_RISING;
    GPIO_InitStruct.Pull = GPIO_NOPULL;
    HAL_GPIO_Init(B1_GPIO_Port, &GPIO_InitStruct);

    /*Configure GPIO pins : IR_Plus_Pin IR_Minus_Pin SDC_Pin Slow_CAN_Pin */
    GPIO_InitStruct.Pin = IR_Plus_Pin | IR_Minus_Pin | SDC_Pin | Slow_CAN_Pin;
    GPIO_InitStruct.Mode = GPIO_MODE_INPUT;
    GPIO_InitStruct.Pull = GPIO_NOPULL;
    HAL_GPIO_Init(GPIOC, &GPIO_InitStruct);

    /*Configure GPIO pins : IR_Plus_EN_Pin Precharge_EN_Pin IR_Minus_EN_Pin PB5
                             PB6 */
    GPIO_InitStruct.Pin =
        IR_Plus_EN_Pin | Precharge_EN_Pin | IR_Minus_EN_Pin | GPIO_PIN_5 | GPIO_PIN_6;
    GPIO_InitStruct.Mode = GPIO_MODE_OUTPUT_PP;
    GPIO_InitStruct.Pull = GPIO_NOPULL;
    GPIO_InitStruct.Speed = GPIO_SPEED_FREQ_LOW;
    HAL_GPIO_Init(GPIOB, &GPIO_InitStruct);

    /*Configure GPIO pins : PB10 PB3 PB4 MCU_MLS_Pin */
    GPIO_InitStruct.Pin = GPIO_PIN_10 | GPIO_PIN_3 | GPIO_PIN_4 | MCU_MLS_Pin;
    GPIO_InitStruct.Mode = GPIO_MODE_INPUT;
    GPIO_InitStruct.Pull = GPIO_NOPULL;
    HAL_GPIO_Init(GPIOB, &GPIO_InitStruct);

    /*Configure GPIO pins : PC7 BMS_OK_Pin */
    GPIO_InitStruct.Pin = GPIO_PIN_7 | BMS_OK_Pin;
    GPIO_InitStruct.Mode = GPIO_MODE_OUTPUT_PP;
    GPIO_InitStruct.Pull = GPIO_NOPULL;
    GPIO_InitStruct.Speed = GPIO_SPEED_FREQ_LOW;
    HAL_GPIO_Init(GPIOC, &GPIO_InitStruct);

    /*Configure GPIO pins : PA10 MCU_MHS_Pin */
    GPIO_InitStruct.Pin = GPIO_PIN_10 | MCU_MHS_Pin;
    GPIO_InitStruct.Mode = GPIO_MODE_INPUT;
    GPIO_InitStruct.Pull = GPIO_NOPULL;
    HAL_GPIO_Init(GPIOA, &GPIO_InitStruct);

    /* EXTI interrupt init*/
    HAL_NVIC_SetPriority(EXTI15_10_IRQn, 5, 0);
    HAL_NVIC_EnableIRQ(EXTI15_10_IRQn);

}

/* USER CODE BEGIN 4 */
void reset_counter_init(void) {
    if (reset_counter_magic != RESET_COUNTER_MAGIC) {
        // Power cycle — RAM is garbage, initialize properly
        reset_counter = 0;
        reset_counter_magic = RESET_COUNTER_MAGIC;
    }
    // Soft reset — counter retains its value
}
/**
 * @brief  Retargets the C library __write function to the IAR function iar_fputc.
 * @param  file: file descriptor.
 * @param  ptr: pointer to the buffer where the data is stored.
 * @param  len: length of the data to write in bytes.
 * @retval length of the written data in bytes.
 */
#if defined(__ICCARM__)
size_t __write(int file, unsigned char const* ptr, size_t len) {
    size_t idx;
    unsigned char const* pdata = ptr;

    for (idx = 0; idx < len; idx++) {
        iar_fputc((int)*pdata);
        pdata++;
    }
    return len;
}
#endif /* __ICCARM__ */

/**
 * @brief  Retargets the C library printf function to the USART.
 */
PUTCHAR_PROTOTYPE {
    /* Place your implementation of fputc here */
    /* e.g. write a character to the LPUART1 and Loop until the end of transmission */
    HAL_UART_Transmit(&hlpuart1, (uint8_t*)&ch, 1, 0xFFFF);

    return ch;
}

GETCHAR_PROTOTYPE {
    uint8_t ch = 0;

    /* Clear the Overrun flag just before receiving the first character */
    __HAL_UART_CLEAR_OREFLAG(&hlpuart1);

    /* Wait for reception of a character on the USART RX line and echo this
     * character on console */
    HAL_UART_Receive(&hlpuart1, (uint8_t*)&ch, 1, HAL_MAX_DELAY);
    HAL_UART_Transmit(&hlpuart1, (uint8_t*)&ch, 1, HAL_MAX_DELAY);
    return ch;
}
/* USER CODE END 4 */

void Start_GPIO_Read(void* argument) {
    /* USER CODE BEGIN 5 */
    uint32_t curr_tick = osKernelGetTickCount();
    /* Infinite loop */
    for (;;) {
        GPIO_Read(&gpio_data, &mutex_struct);
        osDelayUntil(curr_tick + GPIO_READ_TIME);
        curr_tick += GPIO_READ_TIME;
    }
    /* USER CODE END 5 */
}

void Start_BMS_Read(void* argument) {
    /* USER CODE BEGIN Start_BMS_Read */
    uint32_t curr_tick = osKernelGetTickCount();
    /* Infinite loop */
    for (;;) {
        adBms_main_run(&can_data, &mutex_struct);
        osDelayUntil(curr_tick + BMS_RUN_TIME);
        curr_tick += BMS_RUN_TIME;
    }
    /* USER CODE END Start_BMS_Read */
}

void Start_BSM_Run(void* argument) {
    /* USER CODE BEGIN Start_BSM_Run */
    uint32_t curr_tick = osKernelGetTickCount();
    /* Infinite loop */
    for (;;) {
        bsm_run(&bsm, &gpio_data, &adc_data, &TotalPack, &mutex_struct);
        osDelayUntil(curr_tick + BSM_RUN_TIME);
        curr_tick += BSM_RUN_TIME;
    }
    /* USER CODE END Start_BSM_Run */
}

void Start_Error_CAN(void* argument) {
    /* USER CODE BEGIN Start_Error_CAN */
    uint32_t curr_tick = osKernelGetTickCount();
    /* Infinite loop */
    for (;;) {
        error_can(&Queue_CAN_TxHandle, &mutex_struct);
        osDelayUntil(curr_tick + ERROR_CAN_RUN_TIME);
        curr_tick += ERROR_CAN_RUN_TIME;
    }
    /* USER CODE END Start_Error_CAN */
}

void Start_ADC_Read(void* argument) {
    /* USER CODE BEGIN Start_ADC_Read */
    uint32_t curr_tick = osKernelGetTickCount();
    /* Infinite loop */
    for (;;) {
        adc_can(&adc_data, &Queue_CAN_TxHandle, &mutex_struct);
        osDelayUntil(curr_tick + ADC_CAN_RUN_TIME);
        curr_tick += ADC_CAN_RUN_TIME;
    }
    /* USER CODE END Start_ADC_Read */
}

void Start_BSM_CAN(void* argument) {
    /* USER CODE BEGIN Start_BSM_CAN */
    uint32_t curr_tick = osKernelGetTickCount();
    /* Infinite loop */
    for (;;) {
        bsm_can(&bsm, &gpio_data, &Queue_CAN_TxHandle, &mutex_struct);
        osDelayUntil(curr_tick + BSM_CAN_RUN_TIME);
        curr_tick += BSM_CAN_RUN_TIME;
    }
    /* USER CODE END Start_BSM_CAN */
}

void Start_BMS_CAN_Stats(void* argument) {
    /* USER CODE BEGIN Start_BMS_CAN_Stats */
    uint32_t curr_tick = osKernelGetTickCount();
    /* Infinite loop */
    for (;;) {
        bms_can_stats(&PackSegments, &Queue_CAN_TxHandle, &mutex_struct);
        osDelayUntil(curr_tick + BMS_CAN_STATS_RUN_TIME);
        curr_tick += BMS_CAN_STATS_RUN_TIME;
    }
    /* USER CODE END Start_BMS_CAN_Stats */
}

void Start_BMS_CAN_Faults(void* argument) {
    /* USER CODE BEGIN Start_BMS_CAN_Faults */
    uint32_t curr_tick = osKernelGetTickCount();
    /* Infinite loop */
    for (;;) {
        bms_can_faults(&PackSegments, &TotalPack, &Queue_CAN_TxHandle, &mutex_struct);
        osDelayUntil(curr_tick + BMS_CAN_FAULTS_RUN_TIME);
        curr_tick += BMS_CAN_FAULTS_RUN_TIME;
    }
    /* USER CODE END Start_BMS_CAN_Faults */
}

void Start_SOC_CAN_Stats(void* argument) {
    /* USER CODE BEGIN Start_SOC_CAN_Stats */
    uint32_t curr_tick = osKernelGetTickCount();
    /* Infinite loop */
    for (;;) {
        soc_can_stats(&TotalPack, &Queue_CAN_TxHandle, &mutex_struct);
        osDelayUntil(curr_tick + SOC_CAN_STATS_RUN_TIME);
        curr_tick += SOC_CAN_STATS_RUN_TIME;
    }
    /* USER CODE END Start_SOC_CAN_Stats */
}

void Start_BMS_CAN_IDS(void* argument) {
    /* USER CODE BEGIN Start_BMS_CAN_IDS */
    uint32_t curr_tick = osKernelGetTickCount();
    /* Infinite loop */
    for (;;) {
        bms_can_ids(&PackSegments, &TotalPack, &Queue_CAN_TxHandle, &mutex_struct);
        osDelayUntil(curr_tick + BMS_CAN_IDS_RUN_TIME);
        curr_tick += BMS_CAN_IDS_RUN_TIME;
    }
    /* USER CODE END Start_BMS_CAN_IDS */
}

void Start_BMS_CAN_Data(void* argument) {
    /* USER CODE BEGIN Start_BMS_CAN_Data */
    uint32_t curr_tick = osKernelGetTickCount();
    /* Infinite loop */
    for (;;) {
        bms_can_data(&PackSegments, &bms_mod_counter, &bms_segment_counter, &Queue_CAN_TxHandle,
                     &mutex_struct);
        osDelayUntil(curr_tick + BMS_CAN_DATA_RUN_TIME);
        curr_tick += BMS_CAN_DATA_RUN_TIME;
    }
    /* USER CODE END Start_BMS_CAN_Data */
}

void Start_SOC_CAN_Data(void* argument) {
    /* USER CODE BEGIN Start_SOC_CAN_Data */
    uint32_t curr_tick = osKernelGetTickCount();
    /* Infinite loop */
    for (;;) {
        soc_can_data(&g_soc_estimate, &soc_mod_counter, &soc_segment_counter, &Queue_CAN_TxHandle,
                     &mutex_struct);
        osDelayUntil(curr_tick + SOC_CAN_DATA_RUN_TIME);
        curr_tick += SOC_CAN_DATA_RUN_TIME;
    }
    /* USER CODE END Start_SOC_CAN_Data */
}

void Start_GPIO_Write(void* argument) {
    /* USER CODE BEGIN Start_GPIO_Write */
    uint32_t curr_tick = osKernelGetTickCount();
    /* Infinite loop */
    for (;;) {
        GPIO_Write(&bsm, &mutex_struct);
        osDelayUntil(curr_tick + GPIO_WRITE_RUN_TIME);
        curr_tick += GPIO_WRITE_RUN_TIME;
    }
    /* USER CODE END Start_GPIO_Write */
}

void Start_Track_Usage(void* argument) {
    /* USER CODE BEGIN Start_Track_Usage */
    uint32_t curr_tick = osKernelGetTickCount();
    uint32_t min_stack_size = UINT32_MAX;
    /* Infinite loop */
    osThreadId_t task_ids[TASK_NUM] = {
        GPIO_ReadHandle,     BMS_ReadHandle,    BSM_RunHandle,       Error_CANHandle,
        ADC_ReadHandle,      BSM_CANHandle,     BMS_CAN_StatsHandle, BMS_CAN_FaultsHandle,
        SOC_CAN_StatsHandle, BMS_CAN_IDSHandle, BMS_CAN_DataHandle,  SOC_CAN_DataHandle,
        GPIO_WriteHandle,    CAN_SendHandle};
    for (;;) {
        uint32_t curr_stack_size = 0;
        for (int i = 0; i < TASK_NUM; i++) {
            curr_stack_size = osThreadGetStackSpace(task_ids[i]);
            if (curr_stack_size < min_stack_size) {
                min_stack_size = curr_stack_size;
            }
        }
        copyWithMutex(mutex_struct.error_info_key, &error_info.min_stack_size, &min_stack_size);
        uint32_t queue_count = osMessageQueueGetCount(Queue_CAN_TxHandle);
        uint32_t queue_space = osMessageQueueGetSpace(Queue_CAN_TxHandle);
        copyWithMutex(mutex_struct.error_info_key, &error_info.queue_num, &queue_count);
        copyWithMutex(mutex_struct.error_info_key, &error_info.queue_space, &queue_space);
        osDelayUntil(curr_tick + TRACK_USAGE_RUN_TIME);
        curr_tick += TRACK_USAGE_RUN_TIME;
    }
    /* USER CODE END Start_Track_Usage */
}

void Start_CAN_Send(void* argument) {
    /* USER CODE BEGIN Start_CAN_Send */
    uint32_t curr_tick = osKernelGetTickCount();
    /* Infinite loop */
    for (;;) {
        CAN_SendData(&Queue_CAN_TxHandle, &hfdcan1);
        osDelayUntil(curr_tick + CAN_SEND_RUN_TIME);
        curr_tick += CAN_SEND_RUN_TIME;
    }
    /* USER CODE END Start_CAN_Send */
}

void HAL_TIM_PeriodElapsedCallback(TIM_HandleTypeDef* htim) {
    if (htim->Instance == TIM6) {
        HAL_IncTick();
    }
}

void Error_Handler(void) {
    /* USER CODE BEGIN Error_Handler_Debug */
    // Check if SysTick is running (HAL_Init has been called)
    // HAL_GetTick() returns 0 if SysTick hasn't started
    uint32_t tick = HAL_GetTick();

    // Check the Clock enables function for different features
    // Allows error handler to do different actions depending on what is working
    // bool gpio_ready = __HAL_RCC_GPIOC_IS_CLK_ENABLED();
    bool uart_ready = __HAL_RCC_LPUART1_IS_CLK_ENABLED();
    bool can_ready = __HAL_RCC_FDCAN_IS_CLK_ENABLED();

    // Log over UART if available
    if (uart_ready) {
        printf("ERROR HANDLER TRIGGERED\r\n");
    }

    // Send INIT error bytes over CAN
    if (can_ready) {
        uint8_t data[4];
        data[2] = (uint8_t)(1 << INIT_ERROR);
        if (CAN_SendData_Init(CAN_ID_ERRORS, data, FDCAN_DLC_BYTES_4, &hfdcan1) != HAL_OK) {
            error_info.general_errors |= (1 << INIT_CAN_SEND_ERROR);
        }
        error_info.general_errors &= ~(1 << INIT_CAN_SEND_ERROR);
    }

    // Delay only if SysTick is running
    if (tick > 0) {
        HAL_Delay(100);
    }

    reset_counter++;
    if (reset_counter > 3) {  // Can change number of resets, after the amount listed, gets stuck
        // Stuck in boot loop, if CAN is working sending INIT error bytes over CAN
        while (1) {
            if (can_ready) {
                uint8_t data[4];
                data[3] = 1;
                if (CAN_SendData_Init(CAN_ID_ERRORS, data, FDCAN_DLC_BYTES_4, &hfdcan1) != HAL_OK) {
                    error_info.general_errors |= (1 << INIT_CAN_SEND_ERROR);
                }
                error_info.general_errors &= ~(1 << INIT_CAN_SEND_ERROR);
            }
        }
    }

    // Set the BSM stae to FAULT to get stuck there
    if (g_bsm_ptr != NULL) {
        g_bsm_ptr->bsm_state = FAULT;
    }

    // Software reset
    NVIC_SystemReset();
    /* USER CODE END Error_Handler_Debug */
}

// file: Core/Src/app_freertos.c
/* USER CODE BEGIN Header */
/**
 ******************************************************************************
 * File Name          : app_freertos.c
 * Description        : Code for freertos applications
 ******************************************************************************
 * @attention
 *
 * Copyright (c) 2026 STMicroelectronics.
 * All rights reserved.
 *
 * This software is licensed under terms that can be found in the LICENSE file
 * in the root directory of this software component.
 * If no LICENSE file comes with this software, it is provided AS-IS.
 *
 ******************************************************************************
 */
/* USER CODE END Header */

#include "FreeRTOS.h"
#include "main.h"
#include "task.h"

/* Hook prototypes */
void vApplicationStackOverflowHook(xTaskHandle xTask, signed char* pcTaskName);

/* USER CODE BEGIN 4 */
void vApplicationStackOverflowHook(xTaskHandle xTask, signed char* pcTaskName) {
    /* Run time stack overflow checking is performed if
    configCHECK_FOR_STACK_OVERFLOW is defined to 1 or 2. This hook function is
    called if a stack overflow is detected. */
    /* Halt so the debugger stops here; pcTaskName is the overflowing task. */
    taskDISABLE_INTERRUPTS();
    __BKPT(0);
    for (;;);
}
/* USER CODE END 4 */
